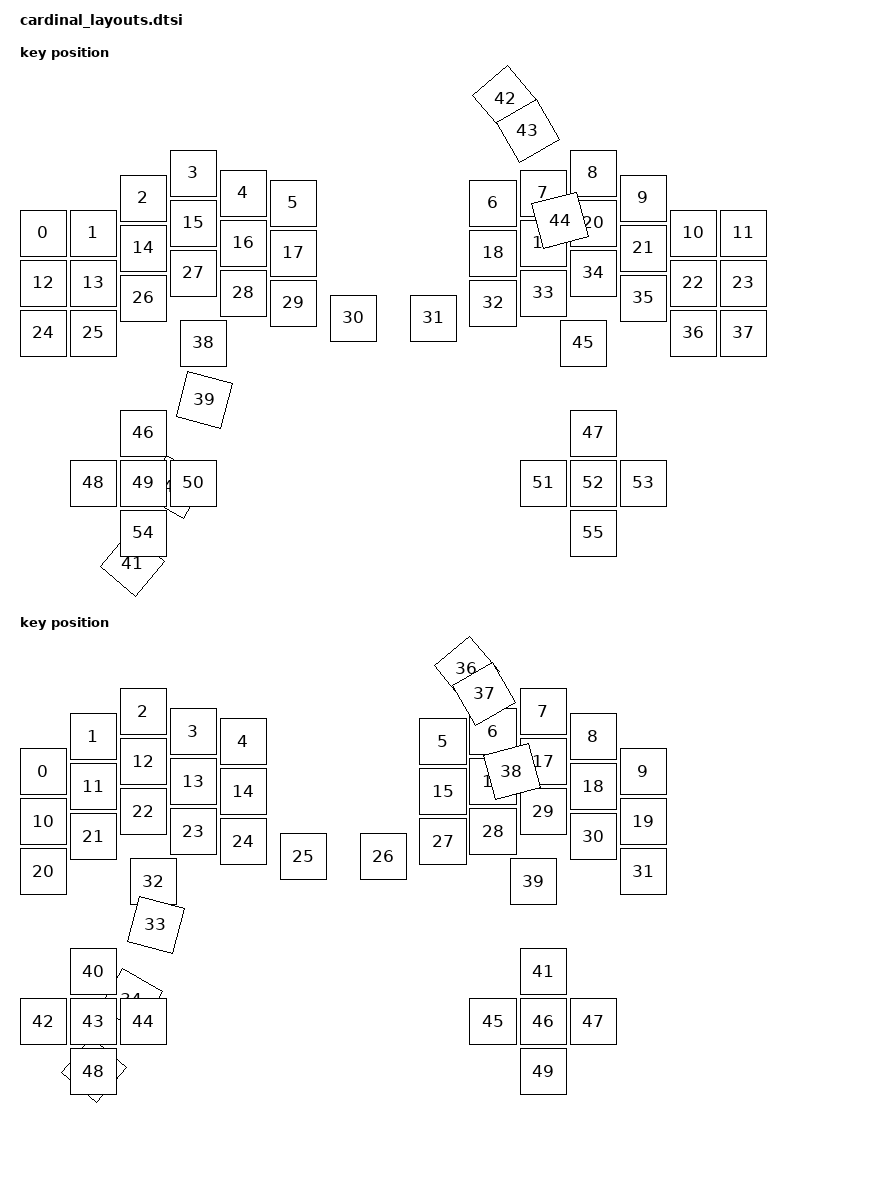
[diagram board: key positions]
// ZMK Studio prep, support for 2 physical layouts.
#include <physical_layouts.dtsi>

/ {
    //Full keyboard layout, 6 column
    layout_6_column: layout_6_column {
        compatible = "zmk,physical-layout";
        display-name = "6 Columnn";

        kscan = <&kscan_6_column>;
        transform = <&default_transform_6c>;

        keys  //                     w   h    x    y     rot    rx    ry
            = <&key_physical_attrs 100 100    0  120       0     0     0>
            , <&key_physical_attrs 100 100  100  120       0     0     0>
            , <&key_physical_attrs 100 100  200   50       0     0     0>
            , <&key_physical_attrs 100 100  300    0       0     0     0>
            , <&key_physical_attrs 100 100  400   40       0     0     0>
            , <&key_physical_attrs 100 100  500   60       0     0     0>
            , <&key_physical_attrs 100 100  900   60       0     0     0>
            , <&key_physical_attrs 100 100 1000   40       0     0     0>
            , <&key_physical_attrs 100 100 1100    0       0     0     0>
            , <&key_physical_attrs 100 100 1200   50       0     0     0>
            , <&key_physical_attrs 100 100 1300  120       0     0     0>
            , <&key_physical_attrs 100 100 1400  120       0     0     0>
            , <&key_physical_attrs 100 100    0  220       0     0     0>
            , <&key_physical_attrs 100 100  100  220       0     0     0>
            , <&key_physical_attrs 100 100  200  150       0     0     0>
            , <&key_physical_attrs 100 100  300  100       0     0     0>
            , <&key_physical_attrs 100 100  400  140       0     0     0>
            , <&key_physical_attrs 100 100  500  160       0     0     0>
            , <&key_physical_attrs 100 100  900  160       0     0     0>
            , <&key_physical_attrs 100 100 1000  140       0     0     0>
            , <&key_physical_attrs 100 100 1100  100       0     0     0>
            , <&key_physical_attrs 100 100 1200  150       0     0     0>
            , <&key_physical_attrs 100 100 1300  220       0     0     0>
            , <&key_physical_attrs 100 100 1400  220       0     0     0>
            , <&key_physical_attrs 100 100    0  320       0     0     0>
            , <&key_physical_attrs 100 100  100  320       0     0     0>
            , <&key_physical_attrs 100 100  200  250       0     0     0>
            , <&key_physical_attrs 100 100  300  200       0     0     0>
            , <&key_physical_attrs 100 100  400  240       0     0     0>
            , <&key_physical_attrs 100 100  500  260       0     0     0>
            , <&key_physical_attrs 100 100  620  290       0     0     0>
            , <&key_physical_attrs 100 100  780  290       0     0     0>
            , <&key_physical_attrs 100 100  900  260       0     0     0>
            , <&key_physical_attrs 100 100 1000  240       0     0     0>
            , <&key_physical_attrs 100 100 1100  200       0     0     0>
            , <&key_physical_attrs 100 100 1200  250       0     0     0>
            , <&key_physical_attrs 100 100 1300  320       0     0     0>
            , <&key_physical_attrs 100 100 1400  320       0     0     0>
            , <&key_physical_attrs 100 100  320  340       0     0     0>
            , <&key_physical_attrs 100 100  440  340    1500     0     0>
            , <&key_physical_attrs 100 100  560  380    3000     0     0>
            , <&key_physical_attrs 100 100  660  440    4000     0     0>
            , <&key_physical_attrs 100 100  760  500 (-4000)     0     0>
            , <&key_physical_attrs 100 100  850  430 (-3000)     0     0>
            , <&key_physical_attrs 100 100  960  370 (-1500)     0     0>
            , <&key_physical_attrs 100 100 1080  340       0     0     0>
            , <&key_physical_attrs 100 100  200  520       0     0     0>
            , <&key_physical_attrs 100 100 1100  520       0     0     0>
            , <&key_physical_attrs 100 100  100  620       0     0     0>
            , <&key_physical_attrs 100 100  200  620       0     0     0>
            , <&key_physical_attrs 100 100  300  620       0     0     0>
            , <&key_physical_attrs 100 100 1000  620       0     0     0>
            , <&key_physical_attrs 100 100 1100  620       0     0     0>
            , <&key_physical_attrs 100 100 1200  620       0     0     0>
            , <&key_physical_attrs 100 100  200  720       0     0     0>
            , <&key_physical_attrs 100 100 1100  720       0     0     0>
            ;
    };
    
    // 5 Column layout, outher keys snapped
    layout_5_column: layout_5_column {
        compatible = "zmk,physical-layout";
        display-name = "5 Columnn";

        kscan = <&kscan_5_column>;
        transform = <&default_transform_5c>;

        keys  //                     w   h    x    y     rot    rx    ry
            = <&key_physical_attrs 100 100    0  120       0     0     0>
            , <&key_physical_attrs 100 100  100   50       0     0     0>
            , <&key_physical_attrs 100 100  200    0       0     0     0>
            , <&key_physical_attrs 100 100  300   40       0     0     0>
            , <&key_physical_attrs 100 100  400   60       0     0     0>
            , <&key_physical_attrs 100 100  800   60       0     0     0>
            , <&key_physical_attrs 100 100  900   40       0     0     0>
            , <&key_physical_attrs 100 100 1000    0       0     0     0>
            , <&key_physical_attrs 100 100 1100   50       0     0     0>
            , <&key_physical_attrs 100 100 1200  120       0     0     0>
            , <&key_physical_attrs 100 100    0  220       0     0     0>
            , <&key_physical_attrs 100 100  100  150       0     0     0>
            , <&key_physical_attrs 100 100  200  100       0     0     0>
            , <&key_physical_attrs 100 100  300  140       0     0     0>
            , <&key_physical_attrs 100 100  400  160       0     0     0>
            , <&key_physical_attrs 100 100  800  160       0     0     0>
            , <&key_physical_attrs 100 100  900  140       0     0     0>
            , <&key_physical_attrs 100 100 1000  100       0     0     0>
            , <&key_physical_attrs 100 100 1100  150       0     0     0>
            , <&key_physical_attrs 100 100 1200  220       0     0     0>
            , <&key_physical_attrs 100 100    0  320       0     0     0>
            , <&key_physical_attrs 100 100  100  250       0     0     0>
            , <&key_physical_attrs 100 100  200  200       0     0     0>
            , <&key_physical_attrs 100 100  300  240       0     0     0>
            , <&key_physical_attrs 100 100  400  260       0     0     0>
            , <&key_physical_attrs 100 100  520  290       0     0     0>
            , <&key_physical_attrs 100 100  680  290       0     0     0>
            , <&key_physical_attrs 100 100  800  260       0     0     0>
            , <&key_physical_attrs 100 100  900  240       0     0     0>
            , <&key_physical_attrs 100 100 1000  200       0     0     0>
            , <&key_physical_attrs 100 100 1100  250       0     0     0>
            , <&key_physical_attrs 100 100 1200  320       0     0     0>
            , <&key_physical_attrs 100 100  220  340       0     0     0>
            , <&key_physical_attrs 100 100  340  340    1500     0     0>
            , <&key_physical_attrs 100 100  460  380    3000     0     0>
            , <&key_physical_attrs 100 100  560  440    4000     0     0>
            , <&key_physical_attrs 100 100  660  500 (-4000)     0     0>
            , <&key_physical_attrs 100 100  750  430 (-3000)     0     0>
            , <&key_physical_attrs 100 100  860  370 (-1500)     0     0>
            , <&key_physical_attrs 100 100  980  340       0     0     0>
            , <&key_physical_attrs 100 100  100  520       0     0     0>
            , <&key_physical_attrs 100 100 1000  520       0     0     0>
            , <&key_physical_attrs 100 100    0  620       0     0     0>
            , <&key_physical_attrs 100 100  100  620       0     0     0>
            , <&key_physical_attrs 100 100  200  620       0     0     0>
            , <&key_physical_attrs 100 100  900  620       0     0     0>
            , <&key_physical_attrs 100 100 1000  620       0     0     0>
            , <&key_physical_attrs 100 100 1100  620       0     0     0>
            , <&key_physical_attrs 100 100  100  720       0     0     0>
            , <&key_physical_attrs 100 100 1000  720       0     0     0>
            ;
    };
};
